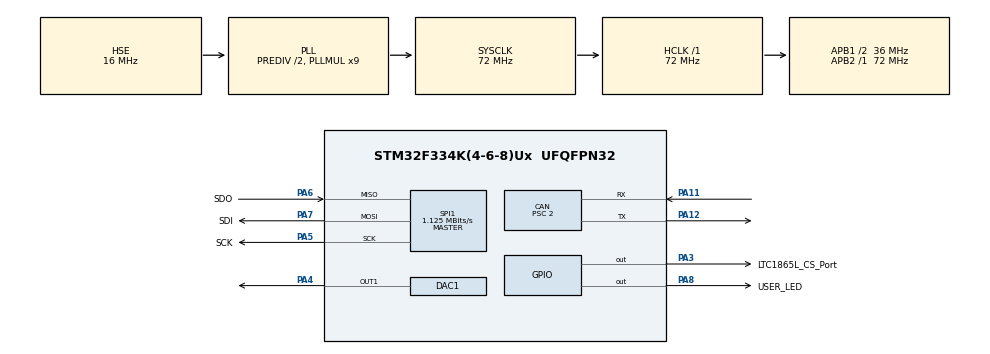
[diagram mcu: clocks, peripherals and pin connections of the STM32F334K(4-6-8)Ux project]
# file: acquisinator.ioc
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CAN.BS1=CAN_BS1_15TQ
CAN.BS2=CAN_BS2_2TQ
CAN.CalculateBaudRate=1000000
CAN.CalculateTimeBit=1000
CAN.CalculateTimeQuantum=55.55555555555556
CAN.Prescaler=2
Mcu.Family=STM32F3
Mcu.Name=STM32F334K(4-6-8)Ux
Mcu.Package=UFQFPN32
NVIC.PriorityGroup=NVIC_PRIORITYGROUP_4
PA11.Mode=CAN_Activate
PA11.Signal=CAN_RX
PA12.Mode=CAN_Activate
PA12.Signal=CAN_TX
PA13.GPIO_Label=SWDIO
PA13.Mode=Trace_Asynchronous_SW
PA13.Signal=SYS_JTMS-SWDIO
PA14.GPIO_Label=SWCLK
PA14.Mode=Trace_Asynchronous_SW
PA14.Signal=SYS_JTCK-SWCLK
PA3.GPIO_Label=LTC1865L_CS_Port
PA3.GPIO_Speed=GPIO_SPEED_FREQ_HIGH
PA3.PinState=GPIO_PIN_SET
PA3.Signal=GPIO_Output
PA4.Signal=COMP_DAC11_group
PA5.GPIO_Label=SCK
PA5.Mode=Full_Duplex_Master
PA5.Signal=SPI1_SCK
PA6.GPIO_Label=SDO
PA6.Mode=Full_Duplex_Master
PA6.Signal=SPI1_MISO
PA7.GPIO_Label=SDI
PA7.Mode=Full_Duplex_Master
PA7.Signal=SPI1_MOSI
PA8.GPIO_Label=USER_LED
PA8.Signal=GPIO_Output
PB3.GPIO_Label=SWO
PB3.Mode=Trace_Asynchronous_SW
PB3.Signal=SYS_JTDO-TRACESWO
PF0\ /\ OSC_IN.GPIO_Label=OSC_IN
PF0\ /\ OSC_IN.Mode=HSE-External-Oscillator
PF0\ /\ OSC_IN.Signal=RCC_OSC_IN
PF1\ /\ OSC_OUT.GPIO_Label=OSC_OUT
PF1\ /\ OSC_OUT.Mode=HSE-External-Oscillator
PF1\ /\ OSC_OUT.Signal=RCC_OSC_OUT
ProjectManager.HeapSize=0x200
ProjectManager.StackSize=0x400
ProjectManager.TargetToolchain=Makefile
RCC.AHBFreq_Value=72000000
RCC.APB1CLKDivider=RCC_HCLK_DIV2
RCC.APB1Freq_Value=36000000
RCC.APB1TimFreq_Value=72000000
RCC.APB2Freq_Value=72000000
RCC.APB2TimFreq_Value=72000000
RCC.CortexFreq_Value=72000000
RCC.HCLKFreq_Value=72000000
RCC.HSE_VALUE=16000000
RCC.HSI_VALUE=8000000
RCC.PLLMUL=RCC_PLL_MUL9
RCC.PLLSourceVirtual=RCC_PLLSOURCE_HSE
RCC.RCC_PLLsource_Clock_Source_FROM_HSE=RCC_HSE_PREDIV_DIV2
RCC.SYSCLKFreq_VALUE=72000000
RCC.SYSCLKSourceVirtual=RCC_SYSCLKSOURCE_PLLCLK
SH.COMP_DAC11_group.0=DAC1_OUT1,DAC_OUT1
SPI1.BaudRatePrescaler=SPI_BAUDRATEPRESCALER_64
SPI1.CalculateBaudRate=1.125 MBits/s
SPI1.DataSize=SPI_DATASIZE_8BIT
SPI1.Direction=SPI_DIRECTION_2LINES
SPI1.Mode=SPI_MODE_MASTER
SPI1.NSSPMode=SPI_NSS_PULSE_DISABLE
SPI1.VirtualType=VM_MASTER
TIM2.ClockDivision=TIM_CLOCKDIVISION_DIV4
TIM2.CounterMode=TIM_COUNTERMODE_UP
TIM2.Period=2812
TIM2.Prescaler=0
TIM2.TIM_MasterOutputTrigger=TIM_TRGO_UPDATE
VP_TIM2_VS_ClockSourceINT.Mode=Internal
board=custom

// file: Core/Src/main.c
/* USER CODE BEGIN Header */
/**
  ******************************************************************************
  * @file           : main.c
  * @brief          : Main program body
  ******************************************************************************
  * @attention
  *
  * Copyright (c) 2025 STMicroelectronics.
  * All rights reserved.
  *
  * This software is licensed under terms that can be found in the LICENSE file
  * in the root directory of this software component.
  * If no LICENSE file comes with this software, it is provided AS-IS.
  *
  ******************************************************************************
  */
/* USER CODE END Header */
#include "main.h"
#include "can.h"
#include "dac.h"
#include "spi.h"
#include "tim.h"
#include "gpio.h"

/* USER CODE BEGIN Includes */
#include <math.h>
#include <stdatomic.h>
#include <stdbool.h>
#include <stdint.h>
#include <string.h>
#include "bridge-api.h"
#include "exc-runner-api.h"
#include <blinky-api.h>
/* USER CODE END Includes */

/* USER CODE BEGIN PD */
#define DAC_MAX 4095
#define VDDA_V 3.3f
// Escursione dell'uscita con il buffer del DAC attivo (datasheet F334, "DAC characteristics":
// da ricontrollare). Il buffer e' specificato per carichi >= 5 kohm, il ponte ne presenta
// ~350: l'ampiezza reale sul ponte e' piu' bassa di quella impostata, va misurata su PA4.
#define DAC_OUT_MIN_V 0.2f
#define DAC_OUT_MAX_V (VDDA_V - 0.2f)

// Eccitazione del ponte: sinusoide sul DAC1_OUT1 (PA4). Frequenza e livelli si cambiano a
// runtime con il frame CAN 0x7A2; la temporizzazione la calcola exc_plan_api_make.
// All'avvio: 125 Hz, 0.25..0.85 V. Con REF dell'amplificatore a ~0.95 V e guadagno 100
// l'uscita resta nel range dell'ADC anche con il ponte sbilanciato di circa +-15 ohm.
#define EXC_FREQ_DEFAULT_HZ 125U
#define EXC_DC_DEFAULT_MV 550U
#define EXC_AMP_DEFAULT_MV 300U
#define EXC_MAX_SAMPLES 64U   // campioni DAC/ADC per periodo, finche' il tick lo permette
#define EXC_MIN_SAMPLES 16U   // sotto non si accetta: sopra EXC_MAX_TICK_HZ / 16 = 1 kHz
// Tetto del tick di TIM2: l'ISR dura ~30 us (conversione 10 us + 16 bit SPI a 1.125 MHz)
#define EXC_MAX_TICK_HZ 16000U

// ---- le impostazioni da cambiare ----
// Finestra minima del demodulatore: si usa la piu' corta >= WINDOW_MS fatta di periodi interi
// di eccitazione che sia anche un numero intero di periodi di rete (entro MAINS_TOL_HZ):
// cosi' 50 Hz e armoniche si cancellano. A 125 Hz con 40 ms: 5 periodi, esatti.
//   40 ms: banda ~11 Hz (prove dinamiche); 200 ms: banda ~2 Hz, rumore ~2.2 volte piu' basso
#define WINDOW_MS 40U
#define WINDOW_MAX_MS 400U   // oltre, la frequenza viene rifiutata
#define MAINS_TOL_HZ 0.1f    // la rete stessa deriva di ~0.1-0.2 Hz: oltre non serve
// Distanza minima da ogni armonica di rete. Con la rete spostata di d Hz l'armonica k entra
// nella misura per circa k * d / distanza della sua ampiezza: a 125 Hz (25 Hz da 100 e 150)
// lo 0.4% con d = 0.1 Hz, a 5 Hz di distanza il 2%. In macchina la rete non c'e'.
#define MAINS_GUARD_HZ 5.0f
// Ogni quanto inviare una misura (finestra mobile), arrotondato a periodi interi:
// 8 ms = 125 misure/s, 2 frame CAN l'una (0x7A0 + 0x7A1) = 250 frame/s, ~3% di 1 Mbit/s.
#define OUTPUT_EVERY_MS 8U
// -------------------------------------

#if EXC_MAX_SAMPLES > EXC_RUNNER_MAX_SAMPLES
#error "EXC_MAX_SAMPLES oltre le tabelle di ExcSetting"
#endif
#if WINDOW_MS == 0U || WINDOW_MS > WINDOW_MAX_MS || OUTPUT_EVERY_MS == 0U
#error "serve 0 < WINDOW_MS <= WINDOW_MAX_MS e OUTPUT_EVERY_MS almeno 1"
#endif

// Amplificatore: guadagno differenziale (AD8553). L'uscita del ponte e' in mV/V: in fase al
// ponte diviso l'ampiezza di eccitazione, proporzionale alla forza; la forza si calibra su questa.
#define AMP_GAIN 100.0f
// Sfasamento della catena analogica (opzionale): phase letta su 0x7A1 con il ponte sbilanciato
#define CAL_PHASE_DEG 0.0f

// Soglie di saturazione dell'uscita dell'amplificatore
#define CLIP_LOW_V 0.02f
#define CLIP_HIGH_V 3.25f

// 0x7A0..0x7A5: liberi sulla primary (0x19A/0x19B sono DasShutdown/ShutdownState)
#define CAN_ID_LOCKIN 0x7A0U
#define CAN_ID_BRIDGE 0x7A1U
#define CAN_ID_SET_EXC 0x7A2U  // ricevuto: freq u16 [Hz], amp u16 [mV], dc u16 [mV]; 0 = invariato
#define CAN_ID_EXC 0x7A3U      // eccitazione in uso: dopo ogni comando e ogni EXC_STATUS_MS
#define CAN_ID_STREAM 0x7A4U   // campioni grezzi dell'ADC, solo con lo streaming acceso
#define CAN_ID_SET_STREAM 0x7A5U // ricevuto: enable u8 (1 = acceso per STREAM_KEEPALIVE_MS)

// Streaming dei campioni grezzi: l'ISR li accoda, il main loop li spedisce a STREAM_PER_FRAME per
// frame. Si spegne da solo se il comando non viene rinnovato: sul bus della macchina e' ~1/3 del traffico.
#define STREAM_RING_SIZE 1024U // potenza di 2: ~128 ms a 8 kHz
#define STREAM_PER_FRAME 3U
#define STREAM_KEEPALIVE_MS 3000U
// Etichetta di ogni campione nella coda e nel frame (byte phase): indice di fase nei bit 0..5 e
#define STREAM_TAG_CH1 0x40U  // campione di CH1 (altrimenti CH0)
#define STREAM_TAG_DUAL 0x80U // streaming di CH0 e CH1 alternati, uno per canale a ogni tick

// Con -DACQ_STREAM_CH1 (build_flags in platformio.ini), solo a streaming acceso, a ogni tick si converte
// anche CH1 subito dopo CH0, per avere a banco l'eccitazione vera (es. da un generatore esterno).
// Lock-in e frame di misura restano quelli di sempre, su CH0. Senza il flag nulla cambia.

// Senza misure per questo tempo il main loop invia comunque un frame di stato
#define NO_DATA_TIMEOUT_MS 1000U
#define EXC_STATUS_MS 1000U

#define BLINKY_PATTERN_SIZE (2U)
/* USER CODE END PD */

/* USER CODE BEGIN PV */
// Eccitazione e acquisizione: due impostazioni, l'ISR gira su una mentre il main loop
// prepara l'altra (exc_runner_api_request), adottata a fine periodo.
static struct ExcRunnerConfig exc_cfg = {
    .plan = {
        .max_samples = EXC_MAX_SAMPLES,
        .min_samples = EXC_MIN_SAMPLES,
        .max_tick_hz = EXC_MAX_TICK_HZ,
        .max_periods = SYNC_DEMOD_MAX_PERIODS,
        .min_window_ms = WINDOW_MS,
        .max_window_ms = WINDOW_MAX_MS,
        .output_ms = OUTPUT_EVERY_MS,
        .mains_hz = 50.0F,
        .mains_tol_hz = MAINS_TOL_HZ,
        .mains_guard_hz = MAINS_GUARD_HZ,
    },
    .vdda_v = VDDA_V,
    .out_min_v = DAC_OUT_MIN_V,
    .out_max_v = DAC_OUT_MAX_V,
    .dac_max = DAC_MAX,
    .default_freq_hz = EXC_FREQ_DEFAULT_HZ,
    .default_dc_mv = EXC_DC_DEFAULT_MV,
    .default_amp_mv = EXC_AMP_DEFAULT_MV,
};
static struct ExcRunner runner;
static struct Blinky blinker;

static uint16_t pattern[BLINKY_PATTERN_SIZE] = { 500, 500 };

// Scritti dall'ISR di TIM2, letti dal main loop
static struct LockinResult lockin_result;
static volatile bool lockin_ready = false;
static volatile uint32_t spi_error_count = 0;
static volatile uint32_t overrun_count = 0;

// Coda dello streaming: un solo produttore (ISR) e un solo consumatore (main loop)
static uint32_t stream_ring[STREAM_RING_SIZE]; // campione | etichetta << 16
static volatile uint32_t stream_head = 0;      // scritto dall'ISR
static volatile uint32_t stream_tail = 0;      // scritto dal main loop
static volatile bool stream_on = false;
static uint32_t stream_until = 0;
/* USER CODE END PV */

void SystemClock_Config(void);
/* USER CODE BEGIN PFP */
static void VectorBase_Config(void);
/* USER CODE END PFP */

/* USER CODE BEGIN 0 */
// Byte di selezione canale LTC1865L (single-ended): bit15=SGL/DIFF=1, bit14=ODD/SIGN.
// CH0 -> ODD/SIGN=0 (0xAA), CH1 -> ODD/SIGN=1 (0xFF). I don't-care ripetono il pattern.
static const uint8_t LTC1865L_CH0[2] = { 0xAA, 0xAA };
#ifdef ACQ_STREAM_CH1
static const uint8_t LTC1865L_CH1[2] = { 0xFF, 0xFF };
#endif
#define LTC1865L_VREF 3.29f
#define LTC1865L_FULL_SCALE 65536.0f
#define LTC1865L_LSB_V (LTC1865L_VREF / LTC1865L_FULL_SCALE)
#define LTC1865L_CONV_US 10U     // CONV alto per la conversione (tCONV max di qualche us)
#define SPI_TIMEOUT_US 100U

// Contatore di cicli del core: serve per attese di pochi us dentro l'ISR, dove
// HAL_GetTick() e' fermo (SysTick ha priorita' piu' bassa di TIM2).
static void dwt_init(void) {
    CoreDebug->DEMCR |= CoreDebug_DEMCR_TRCENA_Msk;
    DWT->CYCCNT = 0;
    DWT->CTRL |= DWT_CTRL_CYCCNTENA_Msk;
}

static uint32_t us_to_cycles(uint32_t us) {
    return us * (SystemCoreClock / 1000000U);
}

static void delay_us(uint32_t us) {
    uint32_t start = DWT->CYCCNT;
    uint32_t cycles = us_to_cycles(us);
    while (DWT->CYCCNT - start < cycles) {
    }
}

// Scambia un byte su SPI1 (8 bit, FRXTH impostato da HAL_SPI_Init), con timeout.
static bool spi1_xfer(uint8_t tx, uint8_t *rx) {
    uint32_t start = DWT->CYCCNT;
    uint32_t timeout = us_to_cycles(SPI_TIMEOUT_US);

    while ((SPI1->SR & SPI_SR_TXE) == 0U) {
        if (DWT->CYCCNT - start > timeout) {
            return false;
        }
    }
    *(volatile uint8_t *)&SPI1->DR = tx;

    while ((SPI1->SR & SPI_SR_RXNE) == 0U) {
        if (DWT->CYCCNT - start > timeout) {
            return false;
        }
    }
    *rx = *(volatile uint8_t *)&SPI1->DR;
    return true;
}

// Un campione dall'LTC1865L in un solo frame: CONV alto avvia la conversione,
// poi CONV basso e 16 clock che leggono il risultato e caricano la selezione
// canale `next` per la conversione successiva. A regime il primo campione di ogni tick e'
// sempre CH0; il primo campione dopo l'avvio puo' essere di un altro canale (scartato con la
// prima finestra).
static bool ltc1865l_sample(const uint8_t next[2], uint16_t *out) {
    while ((SPI1->SR & SPI_SR_RXNE) != 0U) {
        (void)*(volatile uint8_t *)&SPI1->DR; // svuota eventuali residui di un frame fallito
    }

    HAL_GPIO_WritePin(LTC1865L_CS_Port_GPIO_Port, LTC1865L_CS_Port_Pin, GPIO_PIN_SET);
    delay_us(LTC1865L_CONV_US);
    HAL_GPIO_WritePin(LTC1865L_CS_Port_GPIO_Port, LTC1865L_CS_Port_Pin, GPIO_PIN_RESET);

    uint8_t hi = 0;
    uint8_t lo = 0;
    if (!spi1_xfer(next[0], &hi) || !spi1_xfer(next[1], &lo)) {
        return false;
    }
    *out = (uint16_t)(((uint16_t)hi << 8) | lo);
    return true;
}

static void can_send(uint32_t id, const uint8_t data[8]) {
    CAN_TxHeaderTypeDef hdr = { 0 };
    hdr.StdId = id;
    hdr.IDE = CAN_ID_STD;
    hdr.RTR = CAN_RTR_DATA;
    hdr.DLC = 8;

    if (HAL_CAN_GetTxMailboxesFreeLevel(&hcan) > 0U) {
        uint32_t mailbox;
        HAL_CAN_AddTxMessage(&hcan, &hdr, (uint8_t *)data, &mailbox);
    }
}

// Impostazione di default, prima di avviare TIM2
static void exc_init(void) {
    exc_cfg.plan.tim_clk_hz = 2U * HAL_RCC_GetPCLK1Freq(); // PCLK1 x2 perche' il prescaler APB1 e' /2
    if (!exc_runner_api_init(&runner, &exc_cfg)) {
        Error_Handler();
    }
}

static void exc_publish(const struct ExcSetting *exc) {
    uint8_t data[8];
    exc_runner_api_pack_status(exc, data);
    can_send(CAN_ID_EXC, data);
}

// Accetta solo i frame 0x7A2 e 0x7A5 nella FIFO0
static void can_rx_filter_init(void) {
    CAN_FilterTypeDef filter = { 0 };
    filter.FilterBank = 0;
    filter.FilterMode = CAN_FILTERMODE_IDLIST;
    filter.FilterScale = CAN_FILTERSCALE_32BIT;
    filter.FilterIdHigh = CAN_ID_SET_EXC << 5U;
    filter.FilterIdLow = 0;
    filter.FilterMaskIdHigh = CAN_ID_SET_STREAM << 5U; // in IDLIST e' il secondo id
    filter.FilterMaskIdLow = 0;
    filter.FilterFIFOAssignment = CAN_FILTER_FIFO0;
    filter.FilterActivation = CAN_FILTER_ENABLE;
    filter.SlaveStartFilterBank = 14;
    if (HAL_CAN_ConfigFilter(&hcan, &filter) != HAL_OK) {
        Error_Handler();
    }
}

static void stream_command(bool enable) {
    stream_until = HAL_GetTick() + STREAM_KEEPALIVE_MS;
    stream_on = enable;
}

// Svuota la FIFO0: 0x7A5 accende o spegne lo streaming, ogni 0x7A2 diventa una richiesta per l'ISR. Se rifiutata si risponde
// subito con l'impostazione in uso (id invariato), se accettata dopo che l'ISR l'ha applicata.
static void can_rx_poll(void) {
    CAN_RxHeaderTypeDef hdr;
    uint8_t data[8] = { 0 };
    while (HAL_CAN_GetRxFifoFillLevel(&hcan, CAN_RX_FIFO0) > 0U) {
        if (HAL_CAN_GetRxMessage(&hcan, CAN_RX_FIFO0, &hdr, data) != HAL_OK) {
            return;
        }
        if (hdr.IDE != CAN_ID_STD || hdr.RTR != CAN_RTR_DATA) {
            continue;
        }
        if (hdr.StdId == CAN_ID_SET_STREAM) {
            stream_command(hdr.DLC > 0U && data[0] != 0U);
            continue;
        }
        if (hdr.StdId != CAN_ID_SET_EXC) {
            continue;
        }
        for (uint32_t k = hdr.DLC; k < sizeof(data); k++) {
            data[k] = 0; // byte mancanti = invariato
        }
        uint32_t freq_hz = (uint32_t)data[0] | ((uint32_t)data[1] << 8);
        uint32_t amp_mv = (uint32_t)data[2] | ((uint32_t)data[3] << 8);
        uint32_t dc_mv = (uint32_t)data[4] | ((uint32_t)data[5] << 8);
        if (!exc_runner_api_request(&runner, freq_hz, dc_mv, amp_mv)) {
            exc_publish(runner.active);
        }
    }
}

static const struct BridgeConfig bridge_cfg = {
    .amp_gain = AMP_GAIN,
    .adc_lsb_v = LTC1865L_LSB_V,
    .cal_phase_rad = CAL_PHASE_DEG * (float)M_PI / 180.0F,
    .clip_low_v = CLIP_LOW_V,
    .clip_high_v = CLIP_HIGH_V,
};

// Spedisce i campioni accodati, solo con tutte e tre le mailbox libere: le altre due restano ai
// frame di misura e di stato, che hanno anche id piu' bassi e vincono l'arbitraggio.
//   0x7A4 ACQUISINATOR_ADC_STREAM: 3 campioni u16, etichetta u8 del primo, seq u8
// Con la coda piena l'ISR scarta i campioni: il ricevitore lo vede da un salto dell'indice di fase.
static void stream_poll(void) {
    static uint8_t seq = 0;
    if (stream_on && (int32_t)(HAL_GetTick() - stream_until) >= 0) {
        stream_on = false;
    }
    uint32_t tail = stream_tail;
    if (!stream_on) {
        stream_tail = stream_head; // butta quello che resta
        return;
    }
    while (stream_head - tail >= STREAM_PER_FRAME && HAL_CAN_GetTxMailboxesFreeLevel(&hcan) == 3U) {
        atomic_signal_fence(memory_order_acquire); // campioni letti dopo stream_head
        uint8_t data[8];
        for (uint32_t k = 0; k < STREAM_PER_FRAME; k++) {
            uint32_t entry = stream_ring[(tail + k) % STREAM_RING_SIZE];
            data[2U * k] = (uint8_t)entry;
            data[2U * k + 1U] = (uint8_t)(entry >> 8);
        }
        data[6] = (uint8_t)(stream_ring[tail % STREAM_RING_SIZE] >> 16);
        data[7] = seq++;
        tail += STREAM_PER_FRAME;
        stream_tail = tail;
        can_send(CAN_ID_STREAM, data);
    }
}

// Converte il risultato di una finestra e lo invia su CAN (formati in acquisinator.dbc):
//   0x7A0 ACQUISINATOR_DIAG:   lockin_out f32 [V], adc_raw u16 (media), adc_poll u8, exc_id u8 (vedi 0x7A3)
//   0x7A1 ACQUISINATOR_BRIDGE: bridge_out f32 [mV/V], phase i16 [0.01 deg], flags u8, seq u8
static void lockin_publish(const struct LockinResult *res) {
    static uint8_t seq = 0;
    struct BridgeReading reading;
    uint8_t data[8];

    bridge_api_convert(&bridge_cfg, res, &reading);
    bridge_api_pack_diag(res, &reading, data);
    can_send(CAN_ID_LOCKIN, data);
    bridge_api_pack_bridge(&reading, seq++, data);
    can_send(CAN_ID_BRIDGE, data);
}

// Nessuna finestra completata: uscita NaN e il motivo nei flag, cosi' sul CAN
// si vede che la scheda e' viva anche quando l'ADC non risponde.
static void lockin_publish_no_data(bool spi_error) {
    uint8_t data[8];
    bridge_api_pack_no_data(spi_error, data);
    can_send(CAN_ID_BRIDGE, data);
}
/* USER CODE END 0 */

int main(void)
{

  /* USER CODE BEGIN 1 */
    VectorBase_Config();
  /* USER CODE END 1 */

  /* MCU Configuration--------------------------------------------------------*/

  /* Reset of all peripherals, Initializes the Flash interface and the Systick. */
  HAL_Init();

  /* Configure the system clock */
  SystemClock_Config();

  /* Initialize all configured peripherals */
  MX_GPIO_Init();
  MX_CAN_Init();
  MX_SPI1_Init();
  MX_TIM2_Init();
  MX_DAC1_Init();
  /* USER CODE BEGIN 2 */
    dwt_init();
    exc_init();
    blinky_api_init(&blinker, pattern, BLINKY_PATTERN_SIZE, true, BLINKY_LOW);
    can_rx_filter_init();
    HAL_CAN_Start(&hcan);

    __HAL_SPI_ENABLE(&hspi1);

    HAL_DAC_SetValue(&hdac1, DAC_CHANNEL_1, DAC_ALIGN_12B_R, runner.active->dac[0]);
    HAL_DAC_Start(&hdac1, DAC_CHANNEL_1);

    // TIM2 a f * campioni per periodo. Timer fermo: ARR scritto direttamente, poi il preload fa si'
    // che i cambi dall'ISR entrino all'update successivo (mai ARR < CNT, che bloccherebbe
    // il contatore a 32 bit per ~60 s)
    __HAL_TIM_SET_AUTORELOAD(&htim2, runner.active->plan.autoreload);
    SET_BIT(htim2.Instance->CR1, TIM_CR1_ARPE);
    HAL_TIM_Base_Start_IT(&htim2);
  /* USER CODE END 2 */

  /* Infinite loop */
  /* USER CODE BEGIN WHILE */
    uint32_t last_publish = HAL_GetTick();
    uint32_t last_spi_errors = 0;
    uint32_t last_exc_status = HAL_GetTick();
    uint8_t exc_reported_id = runner.active->id;
    exc_publish(runner.active);
    while (1) {
        can_rx_poll();

        // nuova impostazione applicata dall'ISR, oppure stato periodico per i log
        const struct ExcSetting *exc = runner.active;
        if (exc->id != exc_reported_id || HAL_GetTick() - last_exc_status >= EXC_STATUS_MS) {
            exc_publish(exc);
            exc_reported_id = exc->id;
            last_exc_status = HAL_GetTick();
        }

        if (lockin_ready) {
            __disable_irq();
            struct LockinResult res = lockin_result;
            lockin_ready = false;
            __enable_irq();

            lockin_publish(&res);
            last_publish = HAL_GetTick();
            last_spi_errors = spi_error_count;
        } else if (HAL_GetTick() - last_publish >= NO_DATA_TIMEOUT_MS) {
            uint32_t spi_errors = spi_error_count;
            lockin_publish_no_data(spi_errors != last_spi_errors);
            last_publish = HAL_GetTick();
            last_spi_errors = spi_errors;
        }

        stream_poll();

        enum BlinkyState led_status = blinky_api_routine(&blinker, HAL_GetTick());
        HAL_GPIO_WritePin(USER_LED_GPIO_Port, USER_LED_Pin, (GPIO_PinState)led_status);
    /* USER CODE END WHILE */

    }
}

void SystemClock_Config(void)
{
  RCC_OscInitTypeDef RCC_OscInitStruct = {0};
  RCC_ClkInitTypeDef RCC_ClkInitStruct = {0};

  /** Initializes the RCC Oscillators according to the specified parameters
  * in the RCC_OscInitTypeDef structure.
  */
  RCC_OscInitStruct.OscillatorType = RCC_OSCILLATORTYPE_HSE;
  RCC_OscInitStruct.HSEState = RCC_HSE_ON;
  RCC_OscInitStruct.HSEPredivValue = RCC_HSE_PREDIV_DIV2;
  RCC_OscInitStruct.HSIState = RCC_HSI_ON;
  RCC_OscInitStruct.PLL.PLLState = RCC_PLL_ON;
  RCC_OscInitStruct.PLL.PLLSource = RCC_PLLSOURCE_HSE;
  RCC_OscInitStruct.PLL.PLLMUL = RCC_PLL_MUL9;
  if (HAL_RCC_OscConfig(&RCC_OscInitStruct) != HAL_OK)
  {
    Error_Handler();
  }

  /** Initializes the CPU, AHB and APB buses clocks
  */
  RCC_ClkInitStruct.ClockType = RCC_CLOCKTYPE_HCLK|RCC_CLOCKTYPE_SYSCLK
                              |RCC_CLOCKTYPE_PCLK1|RCC_CLOCKTYPE_PCLK2;
  RCC_ClkInitStruct.SYSCLKSource = RCC_SYSCLKSOURCE_PLLCLK;
  RCC_ClkInitStruct.AHBCLKDivider = RCC_SYSCLK_DIV1;
  RCC_ClkInitStruct.APB1CLKDivider = RCC_HCLK_DIV2;
  RCC_ClkInitStruct.APB2CLKDivider = RCC_HCLK_DIV1;

  if (HAL_RCC_ClockConfig(&RCC_ClkInitStruct, FLASH_LATENCY_2) != HAL_OK)
  {
    Error_Handler();
  }
}

/* USER CODE BEGIN 4 */
// Accoda un campione per lo streaming; con la coda piena lo scarta.
static void stream_push(uint16_t raw, uint32_t tag) {
    uint32_t head = stream_head;
    if (head - stream_tail < STREAM_RING_SIZE) {
        stream_ring[head % STREAM_RING_SIZE] = (uint32_t)raw | (tag << 16U);
        atomic_signal_fence(memory_order_release); // campione scritto prima di stream_head
        stream_head = head + 1U;
    }
}

// Ogni tick (f * campioni per periodo, 8 kHz a 125 Hz): campiona l'uscita dell'amplificatore, che si e' assestata sul
// valore del DAC scritto al tick precedente, poi avanza il DAC al campione successivo.
// Il campione viene demodulato con l'indice di fase del valore che lo ha prodotto.
static void tim2_tick(TIM_HandleTypeDef *htim) {
    uint16_t raw = 0;
#ifdef ACQ_STREAM_CH1
    // letto una volta: selezione e campioni dello stesso tick restano coerenti; la conversione di CH1
    // riseleziona CH0, quindi il primo campione del tick dopo e' sempre CH0
    bool dual = stream_on;
    bool sample_ok = ltc1865l_sample(dual ? LTC1865L_CH1 : LTC1865L_CH0, &raw);
    uint16_t raw1 = 0;
    bool sample1_ok = dual && ltc1865l_sample(LTC1865L_CH0, &raw1);
#else
    bool sample_ok = ltc1865l_sample(LTC1865L_CH0, &raw);
#endif

    struct ExcStep step;
    exc_runner_api_advance(&runner, &step);
    if (step.switched) {
        // con il preload il nuovo periodo entra all'update successivo
        __HAL_TIM_SET_AUTORELOAD(htim, step.autoreload);
    }
    HAL_DAC_SetValue(&hdac1, DAC_CHANNEL_1, DAC_ALIGN_12B_R, step.dac);

    if (!sample_ok) {
        spi_error_count++;
    } else if (stream_on) {
#ifdef ACQ_STREAM_CH1
        if (dual) {
            stream_push(raw, step.phase | STREAM_TAG_DUAL);
            if (sample1_ok) {
                stream_push(raw1, step.phase | STREAM_TAG_DUAL | STREAM_TAG_CH1);
            }
        } else {
            stream_push(raw, step.phase);
        }
#else
        stream_push(raw, step.phase);
#endif
    }
    if (exc_runner_api_sample(&runner, &step, sample_ok, raw, &lockin_result)) {
        lockin_ready = true;
    }
}

void HAL_TIM_PeriodElapsedCallback(TIM_HandleTypeDef *htim) {
    if (htim->Instance != TIM2) {
        return;
    }
    tim2_tick(htim);
    // L'HAL azzera UIF prima della callback: se e' gia' di nuovo alto, il tick successivo e'
    // scaduto mentre l'ISR girava (tick troppo veloce per la durata dell'ISR). I campioni
    // restano allineati alle tabelle, ma l'eccitazione non e' piu' regolare.
    if (__HAL_TIM_GET_FLAG(htim, TIM_FLAG_UPDATE) != RESET) {
        exc_runner_api_mark_overrun(&runner);
        overrun_count++;
    }
}

static void VectorBase_Config(void) {
    /* The constant array with vectors of the vector table is declared externally in the
   * c-startup code.
   */
    extern const unsigned long g_pfnVectors[];

    /* Remap the vector table to where the vector table is located for this program. */
    SCB->VTOR = (unsigned long)&g_pfnVectors[0];
}
/* USER CODE END 4 */

void Error_Handler(void)
{
    __disable_irq();
    while (1) {
    }
}
